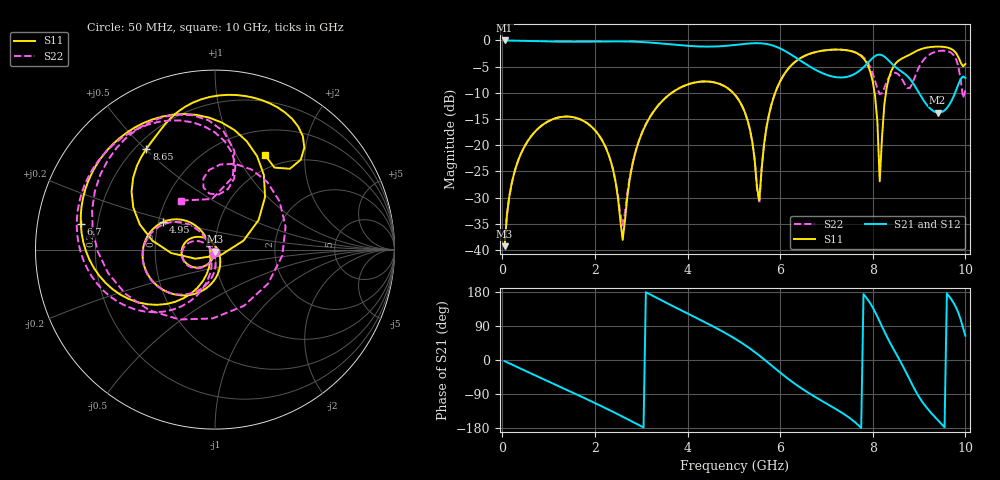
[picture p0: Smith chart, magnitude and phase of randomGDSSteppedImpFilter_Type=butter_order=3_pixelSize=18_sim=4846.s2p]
! freq	dB(S11)	phase(S11)	dB(S12)	phase(S12)
!  dB(S21)	phase(S21)	dB(S22)	phase(S22)
!S-par simulation data
#  GHz  S  DB  R 50
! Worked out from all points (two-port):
!   200 points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, 50 MHz to 10 GHz, reference 50 ohm
!   highest |S21| = -0.01 dB at 50 MHz (marker M1); lowest = -13.8 dB at 9.4 GHz (marker M2)
!   |S21| within 3 dB of the highest: start of sweep to 6.291 GHz; 8.046 GHz to 8.237 GHz (191.3 MHz wide, 2.35 % of centre)
!   lowest |S11| = -39.3 dB at 50 MHz (marker M3), VSWR 1.02, Z = 49.9 - j1.09 ohm
!   |S11| at or under -10 dB: start of sweep to 3.659 GHz; 4.982 GHz to 5.894 GHz (911.1 MHz wide, 16.8 % of centre); 8.038 GHz to 8.285 GHz (246.7 MHz wide, 3.02 % of centre)
!   |S22| runs from -39.3 to -1.8 dB; largest |S21 - S12| = 0
!   S11 on the Smith chart (normalised r, x): 50 MHz: 1.00, -0.02; 4.95 GHz: 0.53, +0.18; 6.7 GHz: 0.14, +0.09; 8.65 GHz: 0.24, +0.51; 10 GHz: 0.81, +1.32
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0.05  -39.27 -92.2  -0.01 -2.9  -0.01 -2.9  -39.27 -92.0
0.55  -19.20 -122.8  -0.10 -31.6  -0.10 -31.6  -19.20 -121.2
1.75  -15.35 166.8  -0.25 -99.1  -0.25 -99.1  -15.35 174.2
2.3  -21.90 129.1  -0.19 -131.3  -0.19 -131.3  -21.87 149.6
2.6  -38.06 28.7  -0.19 -149.7  -0.19 -149.7  -35.31 -148.3
2.85  -22.19 -67.8  -0.24 -165.3  -0.24 -165.3  -22.02 -87.9
3.4  -12.08 -109.3  -0.56 159.8  -0.56 159.8  -12.04 -113.1
4.95  -9.71 151.9  -0.93 61.8  -0.93 61.8  -9.70 155.5
5.05  -10.68 145.1  -0.84 54.4  -0.84 54.4  -10.67 148.9
5.55  -30.49 -151.5  -0.54 11.8  -0.54 11.8  -31.09 -144.6
5.9  -9.84 -122.8  -1.16 -23.1  -1.16 -23.1  -9.84 -116.0
6.7  -2.37 169.3  -5.29 -93.4  -5.29 -93.4  -2.38 177.6
7.5  -1.97 111.6  -6.81 -153.0  -6.81 -153.0  -1.96 121.9
7.9  -4.86 65.8  -4.22 158.0  -4.22 158.0  -4.33 85.1
8.05  -10.65 34.1  -2.98 126.8  -2.98 126.8  -7.73 74.9
8.15  -26.90 -39.9  -2.69 101.5  -2.69 101.5  -10.25 86.2
8.35  -7.08 161.4  -3.89 50.8  -3.89 50.8  -7.03 94.1
8.65  -3.36 124.2  -6.11 -16.1  -6.11 -16.1  -7.67 18.0
8.9  -2.22 108.4  -8.57 -76.3  -8.57 -76.3  -7.20 -116.9
9.4  -1.18 75.7  -13.79 -157.9  -13.79 -157.9  -2.07 134.1
9.85  -3.20 46.3  -8.34 123.9  -8.34 123.9  -5.02 78.9
10  -4.49 62.2  -7.16 63.9  -7.16 63.9  -9.54 125.0
